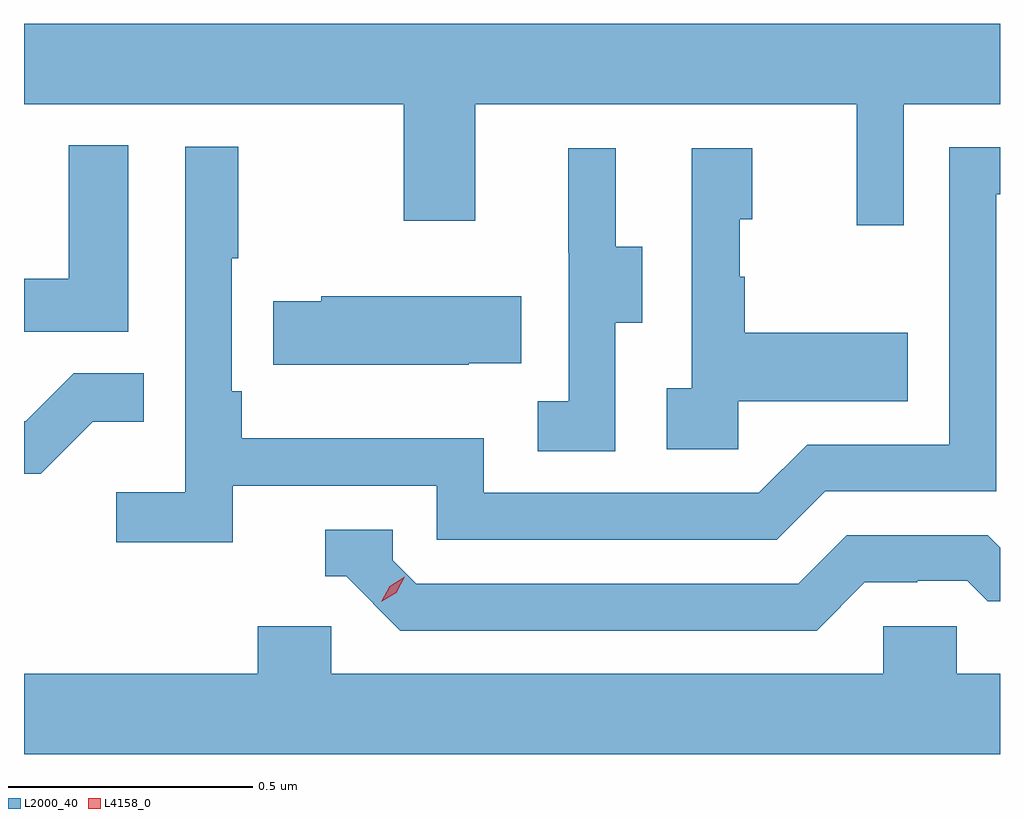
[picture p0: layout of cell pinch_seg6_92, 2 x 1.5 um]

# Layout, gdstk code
import gdstk
lib = gdstk.Library(unit=1e-6, precision=1e-09)
def P(c, l, *ps):  # polygons
    for p in ps: c.add(gdstk.Polygon(p, *l))
L2000_40 = (2000, 40)
L4158_0 = (4158, 0)

pinch_seg6_92 = lib.new_cell('pinch_seg6_92')
P(pinch_seg6_92, L2000_40, [(913.659,928.688),(913.856,928.688),(913.856,928.852),(911.856,928.852),(911.856,928.688),(912.634,928.688),(912.634,928.449),(912.781,928.449),(912.781,928.688),(913.562,928.688),(913.562,928.44),(913.659,928.44)],
  [(912.07,928.603),(911.948,928.603),(911.948,928.33),(911.856,928.33),(911.856,928.221),(912.07,928.221)],
  [(912.284,927.906),(912.702,927.906),(912.702,927.795),(913.399,927.795),(913.498,927.894),(913.848,927.894),(913.848,928.503),(913.856,928.503),(913.856,928.599),(913.752,928.599),(913.752,927.99),(913.461,927.99),(913.362,927.891),(912.798,927.891),(912.798,928.003),(912.302,928.003),(912.302,928.099),(912.282,928.099),(912.282,928.372),(912.295,928.372),(912.295,928.6),(912.186,928.6),(912.186,927.892),(912.045,927.892),(912.045,927.79),(912.284,927.79)],
  [(913.068,928.24),(913.123,928.24),(913.123,928.395),(913.069,928.395),(913.069,928.597),(912.971,928.597),(912.971,928.383),(912.972,928.383),(912.972,928.079),(912.909,928.079),(912.909,927.976),(913.068,927.976)],
  [(913.32,928.079),(913.667,928.079),(913.667,928.219),(913.333,928.219),(913.333,928.334),(913.323,928.334),(913.323,928.452),(913.348,928.452),(913.348,928.597),(913.224,928.597),(913.224,928.106),(913.173,928.106),(913.173,927.981),(913.32,927.981)],
  [(912.767,928.157),(912.875,928.157),(912.875,928.294),(912.465,928.294),(912.465,928.284),(912.367,928.284),(912.367,928.154),(912.767,928.154)],
  [(911.997,928.037),(912.101,928.037),(912.101,928.136),(911.958,928.136),(911.86,928.038),(911.856,928.038),(911.856,927.93),(911.89,927.93)],
  [(913.579,927.708),(913.686,927.708),(913.686,927.711),(913.789,927.711),(913.831,927.669),(913.856,927.669),(913.856,927.779),(913.831,927.804),(913.542,927.804),(913.443,927.705),(912.66,927.705),(912.612,927.753),(912.612,927.816),(912.473,927.816),(912.473,927.72),(912.516,927.72),(912.627,927.609),(913.48,927.609)],
  [(913.856,927.52),(913.767,927.52),(913.767,927.618),(913.617,927.618),(913.617,927.52),(912.486,927.52),(912.486,927.618),(912.335,927.618),(912.335,927.52),(911.856,927.52),(911.856,927.356),(913.856,927.356)])
P(pinch_seg6_92, L4158_0, [(912.588,927.668),(912.588,927.668),(912.605,927.7),(912.636,927.719),(912.636,927.719),(912.636,927.719),(912.619,927.686),(912.588,927.668)])

lib.write_gds('pinch_seg6_92.gds')
